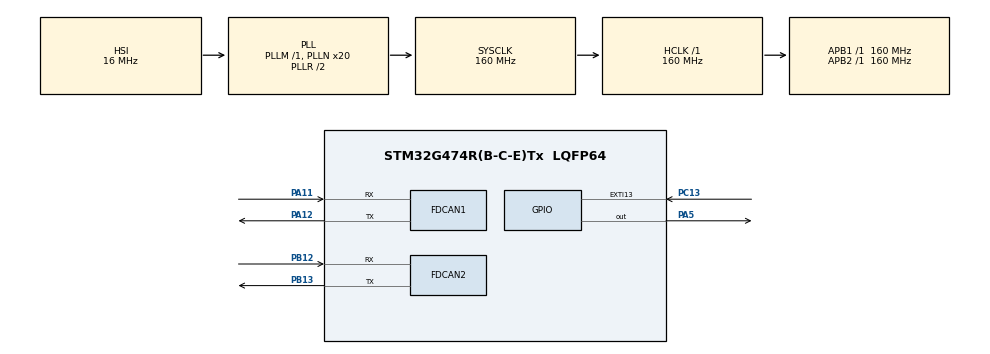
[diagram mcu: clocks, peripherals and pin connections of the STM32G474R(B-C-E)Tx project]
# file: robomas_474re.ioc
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FDCAN1.CalculateBaudRateNominal=1000000
FDCAN1.CalculateTimeBitNominal=1000
FDCAN1.CalculateTimeQuantumNominal=250.0
FDCAN1.NominalPrescaler=40
FDCAN1.NominalTimeSeg1=2
FDCAN2.CalculateBaudRateNominal=1000000
FDCAN2.CalculateTimeBitNominal=1000
FDCAN2.CalculateTimeQuantumNominal=250.0
FDCAN2.NominalPrescaler=40
FDCAN2.NominalTimeSeg1=2
Mcu.Family=STM32G4
Mcu.Name=STM32G474R(B-C-E)Tx
Mcu.Package=LQFP64
NUCLEO-G474RE.BUTTON=1
NUCLEO-G474RE.LD2=true
NUCLEO-G474RE.VCP=true
NVIC.EXTI15_10_IRQn=true\:0\:0\:false\:false\:true\:true\:true\:true
NVIC.PriorityGroup=NVIC_PRIORITYGROUP_4
PA11.Mode=FDCAN_Activate
PA11.Signal=FDCAN1_RX
PA12.Mode=FDCAN_Activate
PA12.Signal=FDCAN1_TX
PA13.GPIO_Label=T_SWDIO
PA13.Signal=SYS_JTMS-SWDIO
PA14.GPIO_Label=T_SWCLK
PA14.Signal=SYS_JTCK-SWCLK
PA2.Signal=LPUART1_TX
PA3.Signal=LPUART1_RX
PA5.Signal=GPIO_Output
PB12.Mode=FDCAN_Activate
PB12.Signal=FDCAN2_RX
PB13.Mode=FDCAN_Activate
PB13.Signal=FDCAN2_TX
PB3.GPIO_Label=T_SWO
PB3.Signal=SYS_JTDO-SWO
PC13.Signal=GPXTI13
PC14-OSC32_IN.GPIO_Label=RCC_OSC32_IN
PC14-OSC32_IN.Signal=RCC_OSC32_IN
PC15-OSC32_OUT.GPIO_Label=RCC_OSC32_OUT
PC15-OSC32_OUT.Signal=RCC_OSC32_OUT
PF0-OSC_IN.GPIO_Label=RCC_OSC_IN
PF0-OSC_IN.Signal=RCC_OSC_IN
PF1-OSC_OUT.GPIO_Label=RCC_OSC_OUT
PF1-OSC_OUT.Signal=RCC_OSC_OUT
ProjectManager.HeapSize=0x200
ProjectManager.StackSize=0x400
ProjectManager.TargetToolchain=STM32CubeIDE
RCC.ADC12Freq_Value=160000000
RCC.ADC345Freq_Value=160000000
RCC.AHBFreq_Value=160000000
RCC.APB1Freq_Value=160000000
RCC.APB1TimFreq_Value=160000000
RCC.APB2Freq_Value=160000000
RCC.APB2TimFreq_Value=160000000
RCC.CortexFreq_Value=160000000
RCC.EXTERNAL_CLOCK_VALUE=12288000
RCC.HCLKFreq_Value=160000000
RCC.HSE_VALUE=24000000
RCC.HSI48_VALUE=48000000
RCC.HSI_VALUE=16000000
RCC.LSE_VALUE=32768
RCC.PLLN=20
RCC.RTCClockSelection=RCC_RTCCLKSOURCE_LSE
RCC.SYSCLKFreq_VALUE=160000000
RCC.SYSCLKSource=RCC_SYSCLKSOURCE_PLLCLK
RCC.USBFreq_Value=160000000
RCC.VCOOutputFreq_Value=320000000
VP_NUCLEO-G474RE_VS_BSP_COMMON.Mode=COMMON
VP_SYS_VS_DBSignals.Mode=DisableDeadBatterySignals
board=NUCLEO-G474RE

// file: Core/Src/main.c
/* USER CODE BEGIN Header */
/**
  ******************************************************************************
  * @file           : main.c
  * @brief          : Main program body
  ******************************************************************************
  * @attention
  *
  * Copyright (c) 2026 STMicroelectronics.
  * All rights reserved.
  *
  * This software is licensed under terms that can be found in the LICENSE file
  * in the root directory of this software component.
  * If no LICENSE file comes with this software, it is provided AS-IS.
  *
  ******************************************************************************
  */
/* USER CODE END Header */
#include "main.h"

/* USER CODE BEGIN Includes */
#include "stdlib.h"
#include "stdio.h"
/* USER CODE END Includes */

/* USER CODE BEGIN PTD */
typedef struct {
    uint16_t angle;       // 0 to 8191
    int16_t  rpm;         // Actual RPM
    int16_t  current;     // Raw current value (-16384 to 16384)
    int8_t   temperature; // Degree Celsius
} RobomasMotor_t;
/* USER CODE END PTD */

/* USER CODE BEGIN PD */
#define DEADZONE 10
#define RADIUS   1  // Define appropriate values
#define MAX_VEL  8000
#define KP_GAIN  0.05f
/* USER CODE END PD */

COM_InitTypeDef BspCOMInit;
FDCAN_HandleTypeDef hfdcan1;
FDCAN_HandleTypeDef hfdcan2;

/* USER CODE BEGIN PV */
enum {
    CH_FR = 0,
    CH_FL,
    CH_BR,
    CH_BL
};

int16_t current_speed[4] = {0,0,0,0};
uint8_t joystick[2] = {128, 128}; //X,Y
int pre_transmit = 0;
int pre_loop = 0;

RobomasMotor_t motors[4];

uint8_t canRxFlag = 0;

/* USER CODE END PV */

void SystemClock_Config(void);
static void MX_GPIO_Init(void);
static void MX_FDCAN1_Init(void);
static void MX_FDCAN2_Init(void);

/* USER CODE BEGIN 0 */
void HAL_CAN_RxFifo0MsgPendingCallback(FDCAN_HandleTypeDef *hfdcan) {
    CAN_RxHeaderTypeDef RxHeader;
    uint8_t RxData[8];
    if (HAL_CAN_GetRxMessage(hcan, CAN_RX_FIFO0, &RxHeader, RxData) == HAL_OK) {
        if (RxHeader.IDE == CAN_ID_STD) {
            uint32_t rxId = RxHeader.StdId;

            // CAN1: 上位コントローラ等からの指令受信
            if (hcan->Instance == CAN1) {
                for (int i = 0; i < 2; i++) {
                    joystick[i] = RxData[i];
                }
                canRxFlag = 1;
            }
            // CAN2: ロボマスESCからのフィードバック受信
            else if (hcan->Instance == CAN2) {
                // ロボマスの受信IDは 0x201 ~ 0x208
                if (rxId >= 0x201 && rxId <= 0x204) {
                    int idx = rxId - 0x201; // IDから配列インデックス(0~3)を計算

                    motors[idx].angle       = (uint16_t)(RxData[0]) << 8 | (uint16_t)(RxData[1]);
                    motors[idx].rpm         = (int16_t)(RxData[2]) << 8 | (int16_t)(RxData[3]);
                    motors[idx].current     = (int16_t)(RxData[4]) << 8 | (int16_t)(RxData[5]);
                    motors[idx].temperature = (int8_t)  RxData[6];
                    HAL_GPIO_TogglePin(GPIOA, GPIO_PIN_5);
                    canRxFlag = 1;
                }
            }
        }
    }
}

int transmit_robomas(int16_t speed[4]){
    CAN_TxHeaderTypeDef TxHeader;
    uint32_t TxMailbox;
    uint8_t TxData[8];

    if( 0 < HAL_CAN_GetTxMailboxesFreeLevel(&hcan2) && HAL_GetTick() - pre_transmit >= 10 ){

        TxHeader.StdId = 0x200;
        TxHeader.RTR = CAN_RTR_DATA;
        TxHeader.IDE = CAN_ID_STD;
        TxHeader.DLC = 8;
        TxHeader.TransmitGlobalTime = DISABLE;
        // データの詰め込み（forループでスマートに処理）
                for (int i = 0; i < 4; i++) {
                    // 出力リミッター（8000制限）
                    if (speed[i] > 8000)  speed[i] = 8000;
                    if (speed[i] < -8000) speed[i] = -8000;

                    TxData[i * 2]     = (uint8_t)(speed[i] >> 8);
                    TxData[i * 2 + 1] = (uint8_t)(speed[i] & 0xFF);
                }
        pre_transmit = HAL_GetTick();

        if(HAL_CAN_AddTxMessage(&hcan2, &TxHeader, TxData, &TxMailbox) != HAL_OK){
        	return -1;
        }
    }
    return 0;
}

int16_t CalculateP(int targetVel, int currentVel, float K) {
    return (int16_t)((targetVel - currentVel) * K);
}

// 足回りの速度計算
void CalculateSpeed(uint8_t JoyX, uint8_t JoyY) {
	// 1. スティック値を正規化 (-128 ~ 127)
    int16_t vx = (int16_t)JoyX - 128;
    int16_t vy = (int16_t)JoyY - 128;
    int16_t w  = 0; //(int16_t)JoyX2 - 128;

    // デッドゾーン処理
    if (abs(vx) < DEADZONE) vx = 0;
    if (abs(vy) < DEADZONE) vy = 0;
    if (abs(w)  < DEADZONE) w = 0;

    // 2. キネマティクス計算（配列に格納して一括管理）
    int32_t targetVels[4];
    targetVels[CH_FR] = (int32_t)((( vy + vx - (w * RADIUS * 5)) / 256.0f) * MAX_VEL);
    targetVels[CH_FL] = (int32_t)(((-vy + vx - (w * RADIUS * 5)) / 256.0f) * MAX_VEL);
    targetVels[CH_BR] = (int32_t)((( vy - vx - (w * RADIUS * 5)) / 256.0f) * MAX_VEL);
    targetVels[CH_BL] = (int32_t)(((-vy - vx - (w * RADIUS * 5)) / 256.0f) * MAX_VEL);

    // 3. 比率保護（MAX_VELを超えないようにスケーリング）
    int32_t maxTarget = 0;
    for (int i = 0; i < 4; i++) {
        int32_t absVal = abs(targetVels[i]);
        if (absVal > maxTarget) maxTarget = absVal;
    }

    if (maxTarget > MAX_VEL) {
        for (int i = 0; i < 4; i++) {
            targetVels[i] = targetVels[i] * MAX_VEL / maxTarget;
        }
    }

    // 4. 各モーターのP制御一括計算（一番スッキリさせたかった部分！）
    for (int i = 0; i < 4; i++) {
        current_speed[i] += CalculateP(targetVels[i], motors[i].rpm, KP_GAIN);
    }
}
/* USER CODE END 0 */

int main(void)
{

  /* MCU Configuration--------------------------------------------------------*/

  /* Reset of all peripherals, Initializes the Flash interface and the Systick. */
  HAL_Init();

  /* Configure the system clock */
  SystemClock_Config();

  /* Initialize all configured peripherals */
  MX_GPIO_Init();
  MX_FDCAN1_Init();
  MX_FDCAN2_Init();
  /* USER CODE BEGIN 2 */
  HAL_FDCAN_Start(&hfdcan1);
  HAL_FDCAN_Start(&hfdcan2);
  /* USER CODE END 2 */

  /* Initialize led */
  BSP_LED_Init(LED_GREEN);

  /* Initialize USER push-button, will be used to trigger an interrupt each time it's pressed.*/
  BSP_PB_Init(BUTTON_USER, BUTTON_MODE_EXTI);

  /* Initialize COM1 port (115200, 8 bits (7-bit data + 1 stop bit), no parity */
  BspCOMInit.BaudRate   = 115200;
  BspCOMInit.WordLength = COM_WORDLENGTH_8B;
  BspCOMInit.StopBits   = COM_STOPBITS_1;
  BspCOMInit.Parity     = COM_PARITY_NONE;
  BspCOMInit.HwFlowCtl  = COM_HWCONTROL_NONE;
  if (BSP_COM_Init(COM1, &BspCOMInit) != BSP_ERROR_NONE)
  {
    Error_Handler();
  }

  /* Infinite loop */
  while (1)
  {

  }
}

void SystemClock_Config(void)
{
  RCC_OscInitTypeDef RCC_OscInitStruct = {0};
  RCC_ClkInitTypeDef RCC_ClkInitStruct = {0};

  /** Configure the main internal regulator output voltage
  */
  HAL_PWREx_ControlVoltageScaling(PWR_REGULATOR_VOLTAGE_SCALE1_BOOST);

  /** Initializes the RCC Oscillators according to the specified parameters
  * in the RCC_OscInitTypeDef structure.
  */
  RCC_OscInitStruct.OscillatorType = RCC_OSCILLATORTYPE_HSI;
  RCC_OscInitStruct.HSIState = RCC_HSI_ON;
  RCC_OscInitStruct.HSICalibrationValue = RCC_HSICALIBRATION_DEFAULT;
  RCC_OscInitStruct.PLL.PLLState = RCC_PLL_ON;
  RCC_OscInitStruct.PLL.PLLSource = RCC_PLLSOURCE_HSI;
  RCC_OscInitStruct.PLL.PLLM = RCC_PLLM_DIV1;
  RCC_OscInitStruct.PLL.PLLN = 20;
  RCC_OscInitStruct.PLL.PLLP = RCC_PLLP_DIV2;
  RCC_OscInitStruct.PLL.PLLQ = RCC_PLLQ_DIV2;
  RCC_OscInitStruct.PLL.PLLR = RCC_PLLR_DIV2;
  if (HAL_RCC_OscConfig(&RCC_OscInitStruct) != HAL_OK)
  {
    Error_Handler();
  }

  /** Initializes the CPU, AHB and APB buses clocks
  */
  RCC_ClkInitStruct.ClockType = RCC_CLOCKTYPE_HCLK|RCC_CLOCKTYPE_SYSCLK
                              |RCC_CLOCKTYPE_PCLK1|RCC_CLOCKTYPE_PCLK2;
  RCC_ClkInitStruct.SYSCLKSource = RCC_SYSCLKSOURCE_PLLCLK;
  RCC_ClkInitStruct.AHBCLKDivider = RCC_SYSCLK_DIV1;
  RCC_ClkInitStruct.APB1CLKDivider = RCC_HCLK_DIV1;
  RCC_ClkInitStruct.APB2CLKDivider = RCC_HCLK_DIV1;

  if (HAL_RCC_ClockConfig(&RCC_ClkInitStruct, FLASH_LATENCY_4) != HAL_OK)
  {
    Error_Handler();
  }
}

static void MX_FDCAN1_Init(void)
{

  hfdcan1.Instance = FDCAN1;
  hfdcan1.Init.ClockDivider = FDCAN_CLOCK_DIV1;
  hfdcan1.Init.FrameFormat = FDCAN_FRAME_CLASSIC;
  hfdcan1.Init.Mode = FDCAN_MODE_NORMAL;
  hfdcan1.Init.AutoRetransmission = DISABLE;
  hfdcan1.Init.TransmitPause = DISABLE;
  hfdcan1.Init.ProtocolException = DISABLE;
  hfdcan1.Init.NominalPrescaler = 40;
  hfdcan1.Init.NominalSyncJumpWidth = 1;
  hfdcan1.Init.NominalTimeSeg1 = 2;
  hfdcan1.Init.NominalTimeSeg2 = 1;
  hfdcan1.Init.DataPrescaler = 1;
  hfdcan1.Init.DataSyncJumpWidth = 1;
  hfdcan1.Init.DataTimeSeg1 = 1;
  hfdcan1.Init.DataTimeSeg2 = 1;
  hfdcan1.Init.StdFiltersNbr = 0;
  hfdcan1.Init.ExtFiltersNbr = 0;
  hfdcan1.Init.TxFifoQueueMode = FDCAN_TX_FIFO_OPERATION;
  if (HAL_FDCAN_Init(&hfdcan1) != HAL_OK)
  {
    Error_Handler();
  }

}

static void MX_FDCAN2_Init(void)
{

  hfdcan2.Instance = FDCAN2;
  hfdcan2.Init.ClockDivider = FDCAN_CLOCK_DIV1;
  hfdcan2.Init.FrameFormat = FDCAN_FRAME_CLASSIC;
  hfdcan2.Init.Mode = FDCAN_MODE_NORMAL;
  hfdcan2.Init.AutoRetransmission = DISABLE;
  hfdcan2.Init.TransmitPause = DISABLE;
  hfdcan2.Init.ProtocolException = DISABLE;
  hfdcan2.Init.NominalPrescaler = 40;
  hfdcan2.Init.NominalSyncJumpWidth = 1;
  hfdcan2.Init.NominalTimeSeg1 = 2;
  hfdcan2.Init.NominalTimeSeg2 = 1;
  hfdcan2.Init.DataPrescaler = 1;
  hfdcan2.Init.DataSyncJumpWidth = 1;
  hfdcan2.Init.DataTimeSeg1 = 1;
  hfdcan2.Init.DataTimeSeg2 = 1;
  hfdcan2.Init.StdFiltersNbr = 0;
  hfdcan2.Init.ExtFiltersNbr = 0;
  hfdcan2.Init.TxFifoQueueMode = FDCAN_TX_FIFO_OPERATION;
  if (HAL_FDCAN_Init(&hfdcan2) != HAL_OK)
  {
    Error_Handler();
  }

}

static void MX_GPIO_Init(void)
{

  /* GPIO Ports Clock Enable */
  __HAL_RCC_GPIOC_CLK_ENABLE();
  __HAL_RCC_GPIOF_CLK_ENABLE();
  __HAL_RCC_GPIOB_CLK_ENABLE();
  __HAL_RCC_GPIOA_CLK_ENABLE();

}

void Error_Handler(void)
{
  __disable_irq();
  while (1)
  {
  }
}
